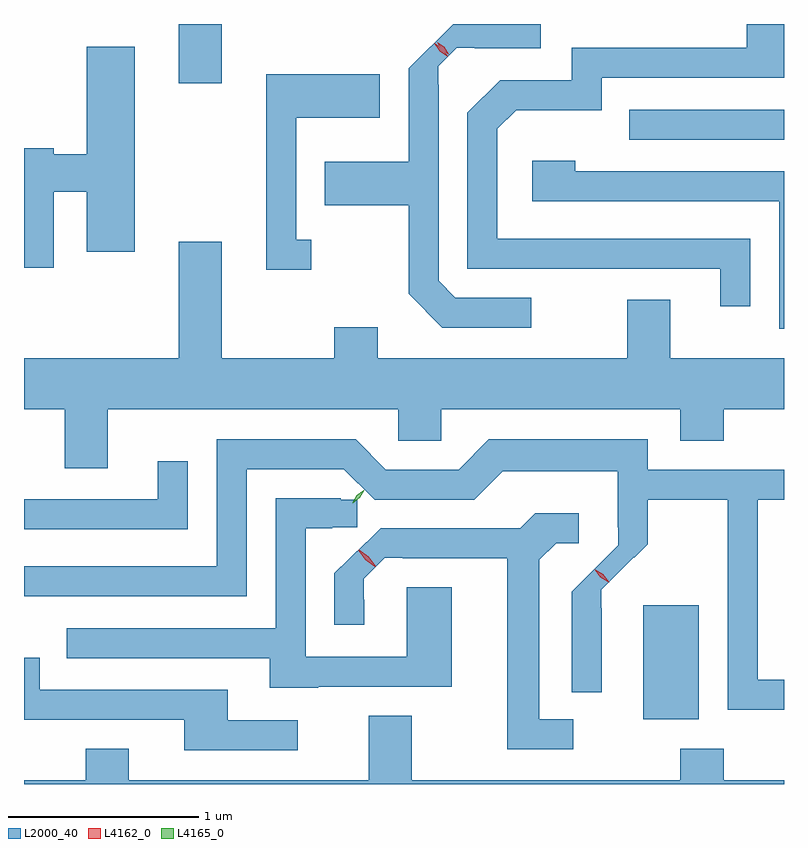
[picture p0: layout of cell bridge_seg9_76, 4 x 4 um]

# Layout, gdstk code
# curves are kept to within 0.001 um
import gdstk
lib = gdstk.Library(unit=1e-6, precision=1e-09)
def R(c, l, rs):  # rectangles x0, y0, x1, y1
    for r in rs: c.add(gdstk.rectangle(r[:2], r[2:], *l))
def P(c, l, *ps):  # polygons
    for p in ps: c.add(gdstk.Polygon(p, *l))
L2000_40 = (2000, 40)
L4162_0 = (4162, 0)
L4165_0 = (4165, 0)

bridge_seg9_76 = lib.new_cell('bridge_seg9_76')
R(bridge_seg9_76, L2000_40, [(1908.756,2001.286,1909.049,2001.884), (1908.683,2004.336,1909.497,2004.494), (1906.311,2004.631,1906.539,2004.944)])
P(bridge_seg9_76, L2000_40, [(1908.168,2003.504),(1907.767,2003.504),(1907.679,2003.592),(1907.679,2004.625),(1907.676,2004.625),(1907.676,2004.721),(1907.775,2004.819),(1907.87,2004.819),(1907.87,2004.816),(1908.218,2004.816),(1908.218,2004.944),(1907.756,2004.944),(1907.521,2004.71),(1907.521,2004.219),(1907.081,2004.219),(1907.081,2003.991),(1907.521,2003.991),(1907.521,2003.524),(1907.699,2003.346),(1908.168,2003.346)],
  [(1909.319,2003.814),(1907.989,2003.814),(1907.989,2004.394),(1908.087,2004.491),(1908.539,2004.491),(1908.539,2004.661),(1909.497,2004.661),(1909.497,2004.944),(1909.301,2004.944),(1909.301,2004.819),(1908.381,2004.819),(1908.381,2004.649),(1908.004,2004.649),(1907.831,2004.477),(1907.831,2003.656),(1909.161,2003.656),(1909.161,2003.458),(1909.319,2003.458)],
  [(1905.654,2004.061),(1905.826,2004.061),(1905.826,2003.746),(1906.079,2003.746),(1906.079,2004.824),(1905.826,2004.824),(1905.826,2004.259),(1905.654,2004.259),(1905.654,2004.289),(1905.497,2004.289),(1905.497,2003.661),(1905.654,2003.661)],
  [(1907.008,2003.809),(1906.929,2003.809),(1906.929,2004.451),(1907.369,2004.451),(1907.369,2004.679),(1906.771,2004.679),(1906.771,2003.651),(1907.008,2003.651)],
  [(1909.497,2004.169),(1908.399,2004.169),(1908.399,2004.224),(1908.171,2004.224),(1908.171,2004.011),(1909.471,2004.011),(1909.471,2003.341),(1909.497,2003.341)],
  [(1905.939,2002.916),(1907.466,2002.916),(1907.466,2002.751),(1907.694,2002.751),(1907.694,2002.916),(1908.951,2002.916),(1908.951,2002.751),(1909.179,2002.751),(1909.179,2002.916),(1909.497,2002.916),(1909.497,2003.184),(1908.899,2003.184),(1908.899,2003.494),(1908.671,2003.494),(1908.671,2003.184),(1907.359,2003.184),(1907.359,2003.349),(1907.131,2003.349),(1907.131,2003.184),(1906.539,2003.184),(1906.539,2003.799),(1906.311,2003.799),(1906.311,2003.184),(1905.497,2003.184),(1905.497,2002.916),(1905.711,2002.916),(1905.711,2002.606),(1905.939,2002.606)],
  [(1909.497,2001.494),(1909.359,2001.494),(1909.359,2002.441),(1909.497,2002.441),(1909.497,2002.599),(1908.779,2002.599),(1908.779,2002.759),(1907.944,2002.759),(1907.784,2002.599),(1907.402,2002.599),(1907.242,2002.759),(1906.511,2002.759),(1906.511,2002.089),(1905.497,2002.089),(1905.497,2001.931),(1906.669,2001.931),(1906.669,2002.601),(1907.179,2002.601),(1907.343,2002.441),(1907.867,2002.441),(1908.017,2002.591),(1908.621,2002.591),(1908.621,2002.295),(1908.625,2002.295),(1908.625,2002.201),(1908.381,2001.957),(1908.381,2001.428),(1908.539,2001.428),(1908.539,2001.87),(1908.536,2001.87),(1908.536,2001.966),(1908.707,2002.137),(1908.709,2002.135),(1908.779,2002.205),(1908.779,2002.441),(1909.201,2002.441),(1909.201,2001.336),(1909.497,2001.336)],
  [(1906.359,2002.643),(1906.201,2002.643),(1906.201,2002.444),(1905.497,2002.444),(1905.497,2002.286),(1906.359,2002.286)],
  [(1907.045,2001.456),(1907.749,2001.456),(1907.749,2001.979),(1907.511,2001.979),(1907.511,2001.614),(1906.979,2001.614),(1906.979,2002.291),(1907.12,2002.291),(1907.12,2002.295),(1907.25,2002.295),(1907.25,2002.439),(1907.164,2002.439),(1907.164,2002.448),(1907.045,2002.448),(1907.045,2002.449),(1906.821,2002.449),(1906.821,2001.764),(1905.723,2001.764),(1905.723,2001.606),(1906.791,2001.606),(1906.791,2001.451),(1907.045,2001.451)],
  [(1908.388,2001.284),(1908.209,2001.284),(1908.209,2002.124),(1908.297,2002.211),(1908.418,2002.211),(1908.418,2002.369),(1908.189,2002.369),(1908.109,2002.289),(1907.374,2002.289),(1907.299,2002.214),(1907.297,2002.216),(1907.131,2002.052),(1907.131,2001.783),(1907.289,2001.783),(1907.289,2001.913),(1907.286,2001.913),(1907.286,2002.025),(1907.395,2002.135),(1907.49,2002.135),(1907.49,2002.131),(1908.041,2002.131),(1908.041,2001.126),(1908.388,2001.126)],
  [(1906.938,2001.279),(1906.569,2001.279),(1906.569,2001.439),(1905.579,2001.439),(1905.579,2001.609),(1905.497,2001.609),(1905.497,2001.281),(1906.341,2001.281),(1906.341,2001.121),(1906.938,2001.121)],
  [(1909.497,2000.964),(1909.179,2000.964),(1909.179,2001.129),(1908.951,2001.129),(1908.951,2000.964),(1907.539,2000.964),(1907.539,2001.304),(1907.311,2001.304),(1907.311,2000.964),(1906.049,2000.964),(1906.049,2001.129),(1905.821,2001.129),(1905.821,2000.964),(1905.497,2000.964),(1905.497,2000.944),(1909.497,2000.944)])
P(bridge_seg9_76, L4162_0, [(1907.727,2004.772),(1907.685,2004.8),(1907.657,2004.842),(1907.657,2004.843),(1907.658,2004.843),(1907.699,2004.815),(1907.727,2004.773),(1907.727,2004.772)],
  [(1908.575,2002.006),(1908.532,2002.033),(1908.501,2002.074),(1908.501,2002.075),(1908.502,2002.075),(1908.545,2002.048),(1908.576,2002.006),(1908.576,2002.006)],
  [(1907.347,2002.088),(1907.297,2002.126),(1907.26,2002.177),(1907.26,2002.178),(1907.261,2002.178),(1907.311,2002.14),(1907.348,2002.089),(1907.348,2002.088)],
  [(1908.57,2002.008),(1908.53,2002.032),(1908.504,2002.07),(1908.504,2002.07),(1908.504,2002.07),(1908.544,2002.046),(1908.571,2002.008),(1908.571,2002.008)],
  [(1907.342,2002.088),(1907.294,2002.124),(1907.26,2002.172),(1907.26,2002.173),(1907.261,2002.173),(1907.308,2002.137),(1907.342,2002.089),(1907.342,2002.088)],
  [(1907.731,2004.784),(1907.694,2004.81),(1907.671,2004.848),(1907.671,2004.849),(1907.672,2004.849),(1907.709,2004.824),(1907.732,2004.785),(1907.732,2004.784)])
P(bridge_seg9_76, L4165_0, [(1907.226,2002.425),(1907.226,2002.426),(1907.249,2002.465),(1907.285,2002.491),(1907.286,2002.491),(1907.286,2002.49),(1907.263,2002.451),(1907.227,2002.425)],
  [(1907.226,2002.422),(1907.226,2002.423),(1907.25,2002.463),(1907.288,2002.491),(1907.289,2002.491),(1907.289,2002.49),(1907.265,2002.45),(1907.227,2002.422)])

lib.write_gds('bridge_seg9_76.gds')
